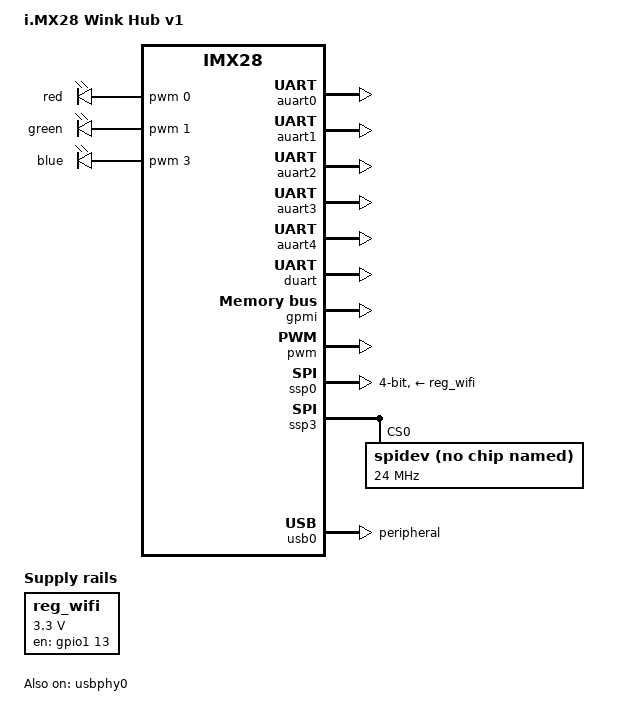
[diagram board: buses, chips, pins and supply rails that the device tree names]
// SPDX-License-Identifier: GPL-2.0+
// Copyright (C) 2023 Fabio Estevam <festevam@gmail.com>

/dts-v1/;
#include <dt-bindings/gpio/gpio.h>
#include "imx28.dtsi"
/ {
	model = "i.MX28 Wink Hub v1";
	compatible = "wink,imx28-wink-hub-v1", "fsl,imx28";

	memory@40000000 {
		device_type = "memory";
		reg = <0x40000000 0>; /* will be filled in by U-Boot */
	};

	reg_wifi: regulator-wifi {
		compatible = "regulator-fixed";
		pinctrl-names = "default";
		pinctrl-0 = <&wifi_enable>;
		regulator-name = "wifi";
		regulator-min-microvolt = <3300000>;
		regulator-max-microvolt = <3300000>;
		gpio = <&gpio1 13 GPIO_ACTIVE_HIGH>;
		enable-active-high;
	};

	pwmleds {
		compatible = "pwm-leds";

		led-red {
			label = "red";
			max-brightness = <255>;
			pwms = <&pwm 0 500000>;
		};

		led-green {
			label = "green";
			max-brightness = <255>;
			pwms = <&pwm 1 500000>;
		};

		led-blue {
			label = "blue";
			max-brightness = <255>;
			pwms = <&pwm 3 500000>;
		};
	};
};

&auart0 {
	pinctrl-names = "default";
	pinctrl-0 = <&auart0_pins_a>;
	uart-has-rtscts;
	status = "okay";
};

&auart1 {
	pinctrl-names = "default";
	pinctrl-0 = <&auart1_2pins_a>;
	status = "okay";
};

&auart2 {
	pinctrl-names = "default";
	pinctrl-0 = <&auart2_2pins_a>;
	status = "okay";
};

&auart3 {
	pinctrl-names = "default";
	pinctrl-0 = <&auart3_2pins_a>;
	status = "okay";
};

&auart4 {
	pinctrl-names = "default";
	pinctrl-0 = <&auart4_pins_a>;
	uart-has-rtscts;
	status = "okay";
};

&duart {
	pinctrl-names = "default";
	pinctrl-0 = <&duart_pins_c>;
	status = "okay";
};

&gpmi {
	pinctrl-names = "default";
	pinctrl-0 = <&gpmi_pins_a &gpmi_pins_extra>;
	status = "okay";

	partition@0 {
		label = "gpmi-nfc-0-boot";
		reg = <0x0000000 0x300000>;
		read-only;
        };

	partition@300000 {
		label = "updater-kernel";
		reg = <0x0300000 0x400000>;
	};

	partition@700000 {
		label = "updater-rootfs";
		reg = <0x0700000 0x1c00000>;
        };

	partition@2300000 {
		label = "database";
		reg = <0x2300000 0x0800000>;
	};

	partition@2b00000 {
		label = "app-kernel";
		reg = <0x2b00000 0x0800000>;
        };

	partition@3300000 {
		label = "gpmi-nfc-general-use";
		reg = <0x3300000 0x4d00000>;
        };
};

&pwm {
	pinctrl-names = "default";
	pinctrl-0 = <&pwm0_pins_a &pwm1_pins_a &pwm3_pins_a>;
	status = "okay";
};

&ssp0 {
	compatible = "fsl,imx28-mmc";
	pinctrl-names = "default";
	pinctrl-0 = <&mmc0_4bit_pins_a &mmc0_sck_cfg>;
	vmmc-supply = <&reg_wifi>;
	bus-width = <4>;
	status = "okay";
};

&ssp3 {
	compatible = "fsl,imx28-spi";
	pinctrl-names = "default";
	pinctrl-0 = <&spi3_pins_b>;
	status = "okay";

	spidev@0 {
		/* Generic compatible to make spidev happy */
		compatible = "rohm,dh2228fv";
		reg = <0>;
		spi-max-frequency = <24000000>;
	};
};

&usb0 {
	dr_mode = "peripheral";
	status = "okay";
};

&usbphy0  {
	status = "okay";
};

&pinctrl {
	pinctrl-names = "default";
	pinctrl-0 = <&hog_pins_a>;

	hog_pins_a: hog@0 {
		reg = <0>;
		fsl,pinmux-ids = <
			MX28_PAD_LCD_D07__GPIO_1_7 /*  Z-Wave reset connection high output */
			MX28_PAD_LCD_D08__GPIO_1_8 /* Lutron Clear-Connect button  */
			MX28_PAD_LCD_D09__GPIO_1_9 /*  Zigbee reset */
			MX28_PAD_LCD_D10__GPIO_1_10 /* Lutron reset */
			MX28_PAD_LCD_D12__GPIO_1_12 /* Input Zigbee interrupt */
			MX28_PAD_LCD_D14__GPIO_1_14 /*  BT  power down */
			MX28_PAD_LCD_D15__GPIO_1_15 /* Kidde Reset */ 
			MX28_PAD_LCD_D16__GPIO_1_16 /* Kidde Data */
			MX28_PAD_LCD_D19__GPIO_1_19 /* Kidde RF Clock */
			MX28_PAD_LCD_D20__GPIO_1_20 /* Kidde GPIO */
		>;
		fsl,drive-strength = <MXS_DRIVE_4mA>;
		fsl,voltage = <MXS_VOLTAGE_HIGH>;
		fsl,pull-up = <MXS_PULL_DISABLE>;
	};

	gpmi_pins_extra: gpmi-pins-extra@0 {
		reg = <0>;
		fsl,pinmux-ids = <
			MX28_PAD_GPMI_CE1N__GPMI_CE1N
			MX28_PAD_GPMI_RDY1__GPMI_READY1
		>;
		fsl,drive-strength = <MXS_DRIVE_4mA>;
		fsl,voltage = <MXS_VOLTAGE_HIGH>;
		fsl,pull-up = <MXS_PULL_DISABLE>;
	};

	wifi_enable: wifi-enable@1 {
		reg = <1>;
		fsl,pinmux-ids = <
			MX28_PAD_LCD_D13__GPIO_1_13
		>;
		fsl,drive-strength = <MXS_DRIVE_4mA>;
		fsl,voltage = <MXS_VOLTAGE_HIGH>;
		fsl,pull-up = <MXS_PULL_DISABLE>;
	};
};
